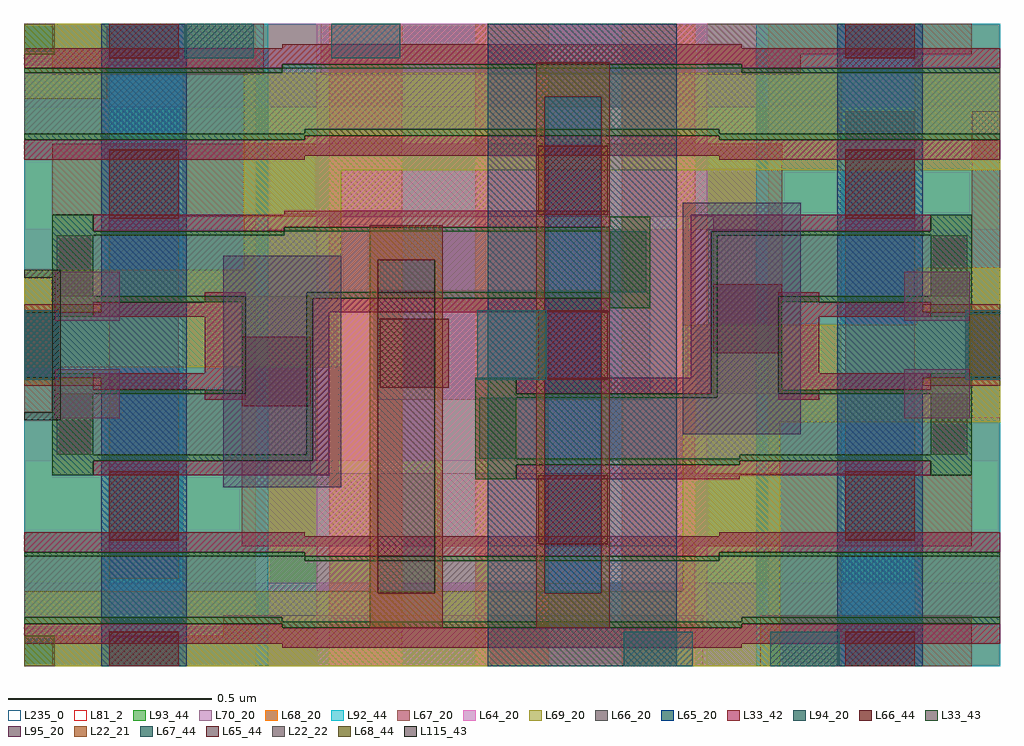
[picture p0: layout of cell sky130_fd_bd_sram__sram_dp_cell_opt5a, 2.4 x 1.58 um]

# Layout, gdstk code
from math import pi, radians
import gdstk
lib = gdstk.Library(unit=1e-6, precision=1e-09)
def R(c, l, rs):  # rectangles x0, y0, x1, y1
    for r in rs: c.add(gdstk.rectangle(r[:2], r[2:], *l))
def P(c, l, *ps):  # polygons
    for p in ps: c.add(gdstk.Polygon(p, *l))
L22_21 = (22, 21)
L22_22 = (22, 22)
L33_42 = (33, 42)
L33_43 = (33, 43)
L64_20 = (64, 20)
L65_20 = (65, 20)
L65_44 = (65, 44)
L66_20 = (66, 20)
L66_44 = (66, 44)
L67_20 = (67, 20)
L67_44 = (67, 44)
L68_20 = (68, 20)
L68_44 = (68, 44)
L69_20 = (69, 20)
L70_20 = (70, 20)
L81_2 = (81, 2)
L92_44 = (92, 44)
L93_44 = (93, 44)
L94_20 = (94, 20)
L95_20 = (95, 20)
L115_43 = (115, 43)
L235_0 = (235, 0)

sky130_fd_bd_sram__sram_ = lib.new_cell('sky130_fd_bd_sram__sram_dp_mcon_05')
R(sky130_fd_bd_sram__sram_, L67_44, [(-0.085,0,0.085,0.085)])

c_sky130_fd_bd_sram__sram_ = lib.new_cell('sky130_fd_bd_sram__sram_dp_cell_half_limcon_optc')
R(c_sky130_fd_bd_sram__sram_, L67_20, [(0.07,0,0.59,0.125), (0.73,0,1.2,0.125), (0,0.625,0.07,0.955), (0.86,0.655,1.2,0.925)])
P(c_sky130_fd_bd_sram__sram_, L67_20, [(0.49,1.455),(0.49,1.505),(0.07,1.505),(0.07,1.58),(1.2,1.58),(1.2,1.455)],
  [(0.535,0.67),(0.535,1.285),(1.2,1.285),(1.2,1.105),(0.705,1.105),(0.705,0.67)],
  [(0.07,0.295),(0.07,0.47),(0.21,0.47),(0.21,1.365),(0.38,1.365),(0.38,0.475),(1.2,0.475),(1.2,0.295)])
R(c_sky130_fd_bd_sram__sram_, L115_43, [(0,0.605,0.07,0.625), (0.07,0.605,0.09,0.975), (0,0.955,0.07,0.975)])
c_sky130_fd_bd_sram__sram_.add(gdstk.Reference(sky130_fd_bd_sram__sram_, (0.84,0)))
c_sky130_fd_bd_sram__sram_.add(gdstk.Reference(sky130_fd_bd_sram__sram_, (1.2,0.79), rotation=pi/2))
c_sky130_fd_bd_sram__sram_.add(gdstk.Reference(sky130_fd_bd_sram__sram_, (0,0.79), rotation=3*pi/2))
c_sky130_fd_bd_sram__sram_.add(gdstk.Reference(sky130_fd_bd_sram__sram_, (0.48,0)))
c_sky130_fd_bd_sram__sram_.add(gdstk.Label('with mcon', (0.215,0.795), layer=83, texttype=44))
c_sky130_fd_bd_sram__sram_.add(gdstk.Label('short li', (0.165,0.855), layer=83, texttype=44))
c_sky130_fd_bd_sram__sram_.add(gdstk.Label('in cell', (0.165,0.73), layer=83, texttype=44))

c_sky130_fd_bd_sram__sram__ = lib.new_cell('sky130_fd_bd_sram__sram_dp_cell_half_limcon_opta')
R(c_sky130_fd_bd_sram__sram__, L67_20, [(0.07,0,0.59,0.125), (0.73,0,1.2,0.125), (0,0.61,0.07,1.365), (0.86,0.655,1.2,0.925)])
P(c_sky130_fd_bd_sram__sram__, L67_20, [(0.49,1.455),(0.49,1.505),(0.07,1.505),(0.07,1.58),(1.2,1.58),(1.2,1.455)],
  [(0.535,0.67),(0.535,1.285),(1.2,1.285),(1.2,1.105),(0.705,1.105),(0.705,0.67)],
  [(0.07,0.295),(0.07,0.47),(0.21,0.47),(0.21,1.365),(0.38,1.365),(0.38,0.475),(1.2,0.475),(1.2,0.295)])
c_sky130_fd_bd_sram__sram__.add(gdstk.Reference(sky130_fd_bd_sram__sram_, (0.84,0)))
c_sky130_fd_bd_sram__sram__.add(gdstk.Reference(sky130_fd_bd_sram__sram_, (1.2,0.79), rotation=pi/2))
c_sky130_fd_bd_sram__sram__.add(gdstk.Reference(sky130_fd_bd_sram__sram_, (0,0.79), rotation=3*pi/2))
c_sky130_fd_bd_sram__sram__.add(gdstk.Reference(sky130_fd_bd_sram__sram_, (0.48,0)))

c_sky130_fd_bd_sram__sram___ = lib.new_cell('sky130_fd_bd_sram__sram_dp_cell_met23_opt5')
R(c_sky130_fd_bd_sram__sram___, L68_44, [(0,0,0.075,0.075), (2.325,0.715,2.4,0.865), (0,1.505,0.075,1.58)])
R(c_sky130_fd_bd_sram__sram___, L69_20, [(0,0,0.225,0.185), (0.225,0,1.86,0.185), (1.62,0.185,1.86,0.6), (0,0.735,0.78,0.975), (0.54,0.975,0.78,1.22), (0.54,1.22,2.4,1.46), (0,1.395,0.205,1.58)])
P(c_sky130_fd_bd_sram__sram___, L69_20, [(1.62,0.6),(1.62,0.84),(2.195,0.84),(2.195,0.98),(2.4,0.98),(2.4,0.6)])
R(c_sky130_fd_bd_sram__sram___, L70_20, [(0,0,2.4,0.205), (0,0.505,2.4,1.075), (0,1.375,2.4,1.58)])

c_sky130_fd_bd_sram__sram____ = lib.new_cell('sky130_fd_bd_sram__sram_dp_cell_half_met1_opta')
R(c_sky130_fd_bd_sram__sram____, L68_20, [(0,0,0.21,1.58), (0.39,0,0.57,1.58), (0.75,0,0.93,1.58), (1.11,0,1.2,1.58)])

c_sky130_fd_bd_sram__sram_____ = lib.new_cell('sky130_fd_bd_sram__sram_dp_cell_poly_srf_optb')
R(c_sky130_fd_bd_sram__sram_____, L33_43, [(0,-0.185,0.1,0.04)])

c_sky130_fd_bd_sram__sram______ = lib.new_cell('sky130_fd_bd_sram__sram_dp_cell_poly_srf_dp_opta')
R(c_sky130_fd_bd_sram__sram______, L33_42, [(0,-0.24,0.1,0.025)])

c_sky130_fd_bd_sram__sram_______ = lib.new_cell('sky130_fd_bd_sram__sram_dp_cell_poly_srf_opta')
R(c_sky130_fd_bd_sram__sram_______, L33_43, [(-0.1,-0.2,0,0.05)])

c_sky130_fd_bd_sram__sram________ = lib.new_cell('sky130_fd_bd_sram__sram_dp_cell_opt1a_poly_siz')
P(c_sky130_fd_bd_sram__sram________, L33_42, [(1.21,0.67),(1.21,0.71),(1.64,0.71),(1.64,1.11),(2.23,1.11),(2.23,1.07),(1.69,1.07),(1.69,0.67)],
  [(0.17,1.07),(0.17,1.11),(0.64,1.11),(0.64,1.12),(1.44,1.12),(1.44,1.08),(0.64,1.08),(0.64,1.07)],
  [(1.21,0.46),(1.21,0.495),(1.76,0.495),(1.76,0.505),(2.23,0.505),(2.23,0.47),(1.76,0.47),(1.76,0.46)],
  [(0.17,0.68),(0.17,0.72),(0.495,0.72),(0.495,0.86),(0.17,0.86),(0.17,0.895),(0.535,0.895),(0.535,0.68)],
  [(1.865,0.68),(1.865,0.895),(2.23,0.895),(2.23,0.86),(1.905,0.86),(1.905,0.72),(2.23,0.72),(2.23,0.68)],
  [(0,1.47),(0,1.52),(0.635,1.52),(0.635,1.53),(1.765,1.53),(1.765,1.52),(2.4,1.52),(2.4,1.47),(1.765,1.47),(1.765,1.48),(0.635,1.48),(0.635,1.47)],
  [(0,1.245),(0,1.295),(0.69,1.295),(0.69,1.305),(1.71,1.305),(1.71,1.295),(2.4,1.295),(2.4,1.245),(1.71,1.245),(1.71,1.255),(0.69,1.255),(0.69,1.245)],
  [(0.69,0.27),(0.69,0.28),(0,0.28),(0,0.33),(0.69,0.33),(0.69,0.32),(1.71,0.32),(1.71,0.33),(2.4,0.33),(2.4,0.28),(1.71,0.28),(1.71,0.27)],
  [(0.635,0.045),(0.635,0.055),(0,0.055),(0,0.105),(0.635,0.105),(0.635,0.095),(1.765,0.095),(1.765,0.105),(2.4,0.105),(2.4,0.055),(1.765,0.055),(1.765,0.045)],
  [(0.17,0.47),(0.17,0.505),(0.71,0.505),(0.71,0.905),(1.44,0.905),(1.44,0.87),(0.75,0.87),(0.75,0.47)])
R(c_sky130_fd_bd_sram__sram________, L33_43, [(0.17,1.06,0.64,1.07), (0.64,1.07,1.44,1.08)])
P(c_sky130_fd_bd_sram__sram________, L33_43, [(1.21,0.66),(1.21,0.67),(1.69,0.67),(1.69,1.07),(2.23,1.07),(2.23,1.06),(1.705,1.06),(1.705,0.66)],
  [(1.855,0.67),(1.855,0.91),(2.23,0.91),(2.23,0.895),(1.865,0.895),(1.865,0.68),(2.23,0.68),(2.23,0.67)],
  [(0.17,0.505),(0.17,0.52),(0.695,0.52),(0.695,0.92),(1.44,0.92),(1.44,0.905),(0.71,0.905),(0.71,0.505)],
  [(0,1.46),(0,1.47),(0.635,1.47),(0.635,1.48),(1.765,1.48),(1.765,1.47),(2.4,1.47),(2.4,1.46),(1.765,1.46),(1.765,1.47),(0.635,1.47),(0.635,1.46)],
  [(1.21,0.495),(1.21,0.51),(1.76,0.51),(1.76,0.52),(2.23,0.52),(2.23,0.505),(1.76,0.505),(1.76,0.495)],
  [(0,1.295),(0,1.31),(0.69,1.31),(0.69,1.32),(1.71,1.32),(1.71,1.31),(2.4,1.31),(2.4,1.295),(1.71,1.295),(1.71,1.305),(0.69,1.305),(0.69,1.295)],
  [(0.69,0.26),(0.69,0.27),(0,0.27),(0,0.28),(0.69,0.28),(0.69,0.27),(1.71,0.27),(1.71,0.28),(2.4,0.28),(2.4,0.27),(1.71,0.27),(1.71,0.26)],
  [(0.635,0.095),(0.635,0.105),(0,0.105),(0,0.12),(0.635,0.12),(0.635,0.11),(1.765,0.11),(1.765,0.12),(2.4,0.12),(2.4,0.105),(1.765,0.105),(1.765,0.095)],
  [(0.17,0.67),(0.17,0.68),(0.535,0.68),(0.535,0.895),(0.17,0.895),(0.17,0.91),(0.545,0.91),(0.545,0.67)])
c_sky130_fd_bd_sram__sram________.add(gdstk.Reference(c_sky130_fd_bd_sram__sram_____, (1.44,1.065)))
c_sky130_fd_bd_sram__sram________.add(gdstk.Reference(c_sky130_fd_bd_sram__sram______, (1.955,0.895), rotation=pi, x_reflection=True))
c_sky130_fd_bd_sram__sram________.add(gdstk.Reference(c_sky130_fd_bd_sram__sram______, (0.445,0.895)))
c_sky130_fd_bd_sram__sram________.add(gdstk.Reference(c_sky130_fd_bd_sram__sram_______, (0.17,1.06)))
c_sky130_fd_bd_sram__sram________.add(gdstk.Reference(c_sky130_fd_bd_sram__sram_______, (0.17,0.67)))
c_sky130_fd_bd_sram__sram________.add(gdstk.Reference(c_sky130_fd_bd_sram__sram_______, (2.23,1.06), rotation=pi, x_reflection=True))
c_sky130_fd_bd_sram__sram________.add(gdstk.Reference(c_sky130_fd_bd_sram__sram_______, (2.23,0.67), rotation=pi, x_reflection=True))
c_sky130_fd_bd_sram__sram________.add(gdstk.Reference(c_sky130_fd_bd_sram__sram_______, (1.21,0.66)))

c_sky130_fd_bd_sram__sram_________ = lib.new_cell('sky130_fd_bd_sram__sram_dp_cell_fom_ext_1')
R(c_sky130_fd_bd_sram__sram_________, L22_21, [(-0.02,0,0.16,0.085)])

c_sky130_fd_bd_sram__sram__________ = lib.new_cell('sky130_fd_bd_sram__sram_dp_licon_05')
R(c_sky130_fd_bd_sram__sram__________, L66_44, [(-0.085,0,0.085,0.085)])

c_sky130_fd_bd_sram__sram___________ = lib.new_cell('sky130_fd_bd_sram__sram_dp_licon_1')
c_sky130_fd_bd_sram__sram___________.add(gdstk.Reference(c_sky130_fd_bd_sram__sram__________, (0,0)))
c_sky130_fd_bd_sram__sram___________.add(gdstk.Reference(c_sky130_fd_bd_sram__sram__________, (0,0), x_reflection=True))

c_sky130_fd_bd_sram__sram____________ = lib.new_cell('sky130_fd_bd_sram__sram_dp_cell_pdiff')
R(c_sky130_fd_bd_sram__sram____________, L22_21, [(1.26,0.18,1.28,1.4), (1.42,0.18,1.44,1.4), (0.85,0.58,0.87,1.4), (1.01,0.58,1.03,1.4)])
R(c_sky130_fd_bd_sram__sram____________, L64_20, [(0.72,0,1.68,1.58)])
R(c_sky130_fd_bd_sram__sram____________, L65_20, [(1.28,0.18,1.42,1.4)])
R(c_sky130_fd_bd_sram__sram____________, L65_44, [(0.87,0.58,1.01,1.4)])
R(c_sky130_fd_bd_sram__sram____________, L93_44, [(0.72,0,1.14,1.58), (1.605,0,1.68,1.58)])
R(c_sky130_fd_bd_sram__sram____________, L94_20, [(1.14,0,1.605,1.58)])
c_sky130_fd_bd_sram__sram____________.add(gdstk.Reference(c_sky130_fd_bd_sram__sram_________, (1.28,1.4)))
c_sky130_fd_bd_sram__sram____________.add(gdstk.Reference(c_sky130_fd_bd_sram__sram_________, (0.87,1.4)))
c_sky130_fd_bd_sram__sram____________.add(gdstk.Reference(c_sky130_fd_bd_sram__sram_________, (1.28,0.18), x_reflection=True))
c_sky130_fd_bd_sram__sram____________.add(gdstk.Reference(c_sky130_fd_bd_sram__sram_________, (0.87,0.58), x_reflection=True))
c_sky130_fd_bd_sram__sram____________.add(gdstk.Reference(c_sky130_fd_bd_sram__sram___________, (1.35,0.79)))
c_sky130_fd_bd_sram__sram____________.add(gdstk.Reference(c_sky130_fd_bd_sram__sram___________, (0.96,0.81)))
c_sky130_fd_bd_sram__sram____________.add(gdstk.Reference(c_sky130_fd_bd_sram__sram___________, (1.35,1.195)))
c_sky130_fd_bd_sram__sram____________.add(gdstk.Reference(c_sky130_fd_bd_sram__sram___________, (1.35,0.385)))

c_sky130_fd_bd_sram__sram_____________ = lib.new_cell('sky130_fd_bd_sram__sram_dp_cell_half_wl')
P(c_sky130_fd_bd_sram__sram_____________, L66_20, [(0.635,-0.01),(0.635,0),(0,0),(0,0.15),(0.69,0.15),(0.69,0.14),(1.2,0.14),(1.2,-0.01)])

c_sky130_fd_bd_sram__sram______________ = lib.new_cell('sky130_fd_bd_sram__sram_dp_cell_poly_chair')
P(c_sky130_fd_bd_sram__sram______________, L66_20, [(0.64,0.51),(0.64,0.52),(0.08,0.52),(0.08,0.67),(0.545,0.67),(0.545,0.91),(0.08,0.91),(0.08,1.06),(0.695,1.06),(0.695,0.66),(1.28,0.66),(1.28,0.51)])
R(c_sky130_fd_bd_sram__sram______________, L95_20, [(0.49,0.57,0.78,1.14)])
c_sky130_fd_bd_sram__sram______________.add(gdstk.Reference(c_sky130_fd_bd_sram__sram_____________, (0,0.12)))
c_sky130_fd_bd_sram__sram______________.add(gdstk.Reference(c_sky130_fd_bd_sram__sram_____________, (0,1.46), x_reflection=True))
c_sky130_fd_bd_sram__sram______________.add(gdstk.Reference(c_sky130_fd_bd_sram__sram___________, (0.62,0.855)))

c_sky130_fd_bd_sram__sram_______________ = lib.new_cell('sky130_fd_bd_sram__sram_dp_cell_fom_srf_1')
R(c_sky130_fd_bd_sram__sram_______________, L22_22, [(-0.115,-0.02,0.045,0.1)])

c_sky130_fd_bd_sram__sram________________ = lib.new_cell('sky130_fd_bd_sram__sram_dp_cell_ndiff')
R(c_sky130_fd_bd_sram__sram________________, L22_21, [(0,0.69,0.19,0.71), (0,0.87,0.19,0.89)])
P(c_sky130_fd_bd_sram__sram________________, L65_20, [(0.19,0),(0.19,0.71),(0,0.71),(0,0.87),(0.19,0.87),(0.19,1.58),(0.4,1.58),(0.4,0)])
R(c_sky130_fd_bd_sram__sram________________, L92_44, [(0,0,0.6,1.58)])
R(c_sky130_fd_bd_sram__sram________________, L93_44, [(0,0,0.72,1.58)])
c_sky130_fd_bd_sram__sram________________.add(gdstk.Reference(c_sky130_fd_bd_sram__sram__________, (0.295,1.58), rotation=pi))
c_sky130_fd_bd_sram__sram________________.add(gdstk.Reference(c_sky130_fd_bd_sram__sram__________, (0,0.79), rotation=3*pi/2))
c_sky130_fd_bd_sram__sram________________.add(gdstk.Reference(c_sky130_fd_bd_sram__sram__________, (0.295,0)))
c_sky130_fd_bd_sram__sram________________.add(gdstk.Reference(c_sky130_fd_bd_sram__sram___________, (0.295,1.185)))
c_sky130_fd_bd_sram__sram________________.add(gdstk.Reference(c_sky130_fd_bd_sram__sram___________, (0.295,0.395)))
c_sky130_fd_bd_sram__sram________________.add(gdstk.Reference(c_sky130_fd_bd_sram__sram_______________, (0.19,0.87)))
c_sky130_fd_bd_sram__sram________________.add(gdstk.Reference(c_sky130_fd_bd_sram__sram_______________, (0.19,0.71), x_reflection=True))

c_sky130_fd_bd_sram__sram_________________ = lib.new_cell('sky130_fd_bd_sram__sram_dp_cell')
R(c_sky130_fd_bd_sram__sram_________________, L66_20, [(1.28,0.51,1.53,0.66)])
R(c_sky130_fd_bd_sram__sram_________________, L81_2, [(0,0,2.4,1.58)])
c_sky130_fd_bd_sram__sram_________________.add(gdstk.Reference(c_sky130_fd_bd_sram__sram____________, (0,0)))
c_sky130_fd_bd_sram__sram_________________.add(gdstk.Reference(c_sky130_fd_bd_sram__sram______________, (2.4,1.58), rotation=pi))
c_sky130_fd_bd_sram__sram_________________.add(gdstk.Reference(c_sky130_fd_bd_sram__sram______________, (0,0)))
c_sky130_fd_bd_sram__sram_________________.add(gdstk.Reference(c_sky130_fd_bd_sram__sram________________, (0,0)))
c_sky130_fd_bd_sram__sram_________________.add(gdstk.Reference(c_sky130_fd_bd_sram__sram________________, (2.4,0), rotation=pi, x_reflection=True))

c_sky130_fd_bd_sram__sram__________________ = lib.new_cell('sky130_fd_bd_sram__sram_dp_cell_opt5a')
R(c_sky130_fd_bd_sram__sram__________________, L235_0, [(0,0,2.4,1.58)])
c_sky130_fd_bd_sram__sram__________________.add(gdstk.Reference(c_sky130_fd_bd_sram__sram_, (0,1.58), x_reflection=True))
c_sky130_fd_bd_sram__sram__________________.add(gdstk.Reference(c_sky130_fd_bd_sram__sram__, (2.4,0), rotation=pi, x_reflection=True))
c_sky130_fd_bd_sram__sram__________________.add(gdstk.Reference(c_sky130_fd_bd_sram__sram___, (0,0)))
c_sky130_fd_bd_sram__sram__________________.add(gdstk.Reference(c_sky130_fd_bd_sram__sram____, (0,0)))
c_sky130_fd_bd_sram__sram__________________.add(gdstk.Reference(c_sky130_fd_bd_sram__sram____, (2.4,0), rotation=pi, x_reflection=True))
c_sky130_fd_bd_sram__sram__________________.add(gdstk.Reference(c_sky130_fd_bd_sram__sram________, (0,0)))
c_sky130_fd_bd_sram__sram__________________.add(gdstk.Reference(c_sky130_fd_bd_sram__sram_________________, (0,1.58), x_reflection=True))

lib.write_gds('sky130_fd_bd_sram__sram_dp_cell_opt5a.gds')
